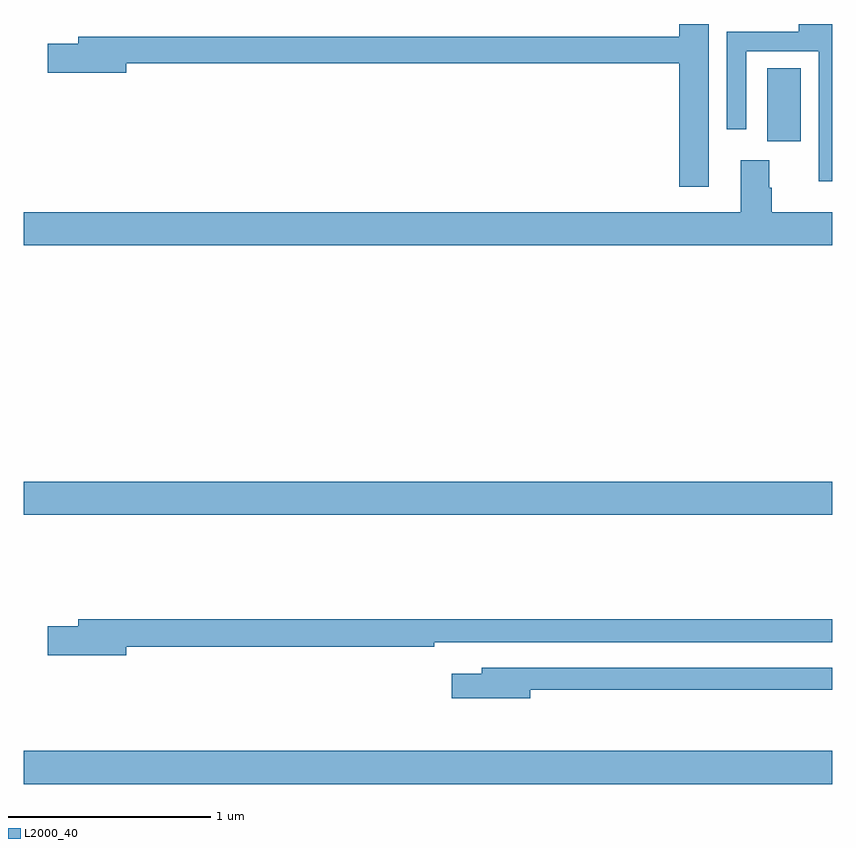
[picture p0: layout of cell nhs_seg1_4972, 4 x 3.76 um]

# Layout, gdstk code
import gdstk
lib = gdstk.Library(unit=1e-6, precision=1e-09)
def R(c, l, rs):  # rectangles x0, y0, x1, y1
    for r in rs: c.add(gdstk.rectangle(r[:2], r[2:], *l))
def P(c, l, *ps):  # polygons
    for p in ps: c.add(gdstk.Polygon(p, *l))
L2000_40 = (2000, 40)

nhs_seg1_4972 = lib.new_cell('nhs_seg1_4972')
R(nhs_seg1_4972, L2000_40, [(381,510.44,385,510.604), (381,511.772,385,511.936), (384.677,513.618,384.844,513.98)])
P(nhs_seg1_4972, L2000_40, [(385,514.199),(384.833,514.199),(384.833,514.161),(384.477,514.161),(384.477,513.678),(384.573,513.678),(384.573,514.065),(384.933,514.065),(384.933,513.422),(385,513.422)],
  [(384.388,514.199),(384.242,514.199),(384.242,514.135),(381.269,514.135),(381.269,514.101),(381.12,514.101),(381.12,513.959),(381.508,513.959),(381.508,514.006),(384.242,514.006),(384.242,513.393),(384.388,513.393)],
  [(385,513.268),(384.701,513.268),(384.701,513.389),(384.688,513.389),(384.688,513.526),(384.548,513.526),(384.548,513.268),(381,513.268),(381,513.104),(385,513.104)],
  [(381.508,511.12),(383.03,511.12),(383.03,511.14),(385,511.14),(385,511.256),(381.269,511.256),(381.269,511.22),(381.12,511.22),(381.12,511.078),(381.508,511.078)],
  [(383.506,510.906),(385,510.906),(385,511.014),(383.267,511.014),(383.267,510.985),(383.118,510.985),(383.118,510.863),(383.506,510.863)])

lib.write_gds('nhs_seg1_4972.gds')
